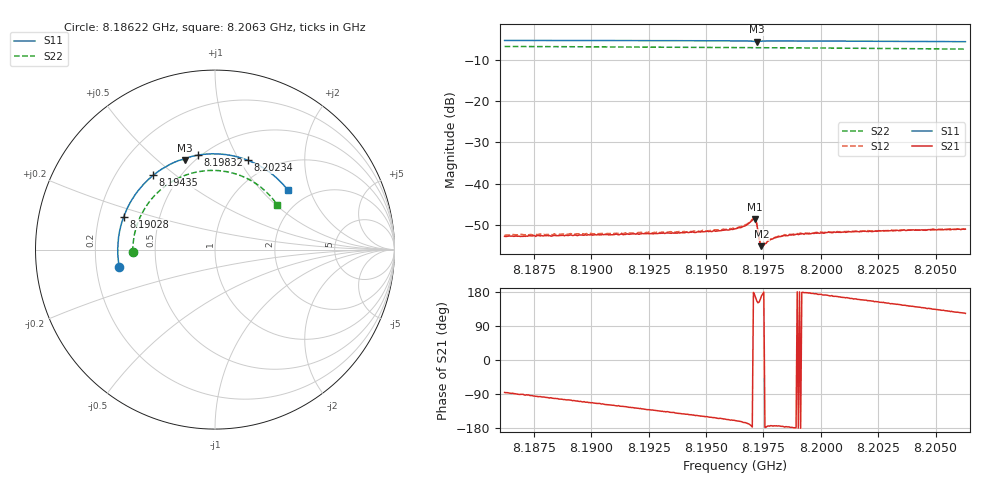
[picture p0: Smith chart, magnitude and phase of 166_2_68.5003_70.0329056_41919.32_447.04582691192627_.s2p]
#  HZ  S  RI  R  50.00
! Rohde & Schwarz Vector Network Analyzer
! Rohde-Schwarz,ZNB20-2Port,1311601062101988,3.16
! Created: UTC 3/20/2024, 4:56:00 PM
! freq[Hz]  re:S11  im:S11  re:S21  im:S21  re:S12  im:S12  re:S22  im:S22
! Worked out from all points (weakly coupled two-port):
!   401 points, 8.18622 GHz to 8.2063 GHz, reference 50 ohm
!   highest |S21| = -48.55 dB at 8.19711 GHz (marker M1); lowest = -55.1 dB at 8.19741 GHz (marker M2)
!   lowest |S11| = -5.6 dB at 8.19721 GHz (marker M3), VSWR 3.20, Z = 22.6 + j30.9 ohm
!   |S11| at or under -10 dB: nowhere
!   |S22| runs from -7.4 to -6.8 dB; largest |S21 - S12| = 0.00021
!   S11 on the Smith chart (normalised r, x): 8.18622 GHz: 0.30, -0.08; 8.19028 GHz: 0.31, +0.16; 8.19435 GHz: 0.36, +0.42; 8.19832 GHz: 0.48, +0.71; 8.20234 GHz: 0.79, +1.09; 8.2063 GHz: 1.57, +1.43
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8.186216e9  -0.5337 -0.0966  0.000177 -0.0023  0.000189 -0.0024  -0.4586 -0.0119
8.187874e9  -0.5415 0.0187  -0.000313 -0.00232  -0.000389 -0.00239  -0.4499 0.0792
8.189581e9  -0.5237 0.1368  -0.000829 -0.00225  -0.000896 -0.00233  -0.4223 0.1694
8.190284e9  -0.5087 0.1837  -0.00102 -0.0022  -0.00111 -0.00222  -0.4055 0.2047
8.192945e9  -0.4152 0.3443  -0.00176 -0.00181  -0.00188 -0.0018  -0.3161 0.3214
8.194351e9  -0.3447 0.4138  -0.0021 -0.00151  -0.0022 -0.00147  -0.2546 0.3699
8.19626e9  -0.2298 0.485  -0.00267 -0.000986  -0.00277 -0.00089  -0.159 0.4166
8.196661e9  -0.2024 0.4961  -0.00297 -0.000792  -0.00303 -0.000715  -0.1376 0.4236
8.197013e9  -0.1754 0.5016  -0.0036 -0.000187  -0.00371 -7.89e-05  -0.1185 0.4286
8.197113e9  -0.168 0.4998  -0.0037 0.000515  -0.00375 0.000719  -0.113 0.4298
8.197163e9  -0.1662 0.498  -0.00346 0.001  -0.0035 0.00118  -0.1104 0.4303
8.197214e9  -0.1659 0.497  -0.0029 0.00133  -0.00292 0.00144  -0.1077 0.4308
8.197314e9  -0.1655 0.5013  -0.00191 0.000967  -0.00191 0.00107  -0.1022 0.432
8.197364e9  -0.1634 0.5045  -0.00175 0.000615  -0.00176 0.000702  -0.0994 0.4328
8.197414e9  -0.1602 0.5072  -0.00172 0.000333  -0.00176 0.000483  -0.0967 0.4333
8.197515e9  -0.1529 0.5112  -0.0018 3.1e-05  -0.00184 0.000145  -0.0911 0.4343
8.197866e9  -0.1272 0.5198  -0.00212 -0.000229  -0.00217 -0.000139  -0.0714 0.4375
8.198318e9  -0.0951 0.5265  -0.00233 -0.000202  -0.00234 -8.64e-05  -0.0461 0.4403
8.199624e9  -0.00245 0.5336  -0.00251 0.000184  -0.00253 0.000313  0.0277 0.4393
8.202336e9  0.1848 0.4971  -0.00239 0.00118  -0.00238 0.00124  0.1757 0.3978
8.202988e9  0.2271 0.4783  -0.00231 0.00137  -0.0023 0.00145  0.2086 0.38
8.206303e9  0.4071 0.3301  -0.00154 0.00236  -0.00143 0.00243  0.3471 0.2479
